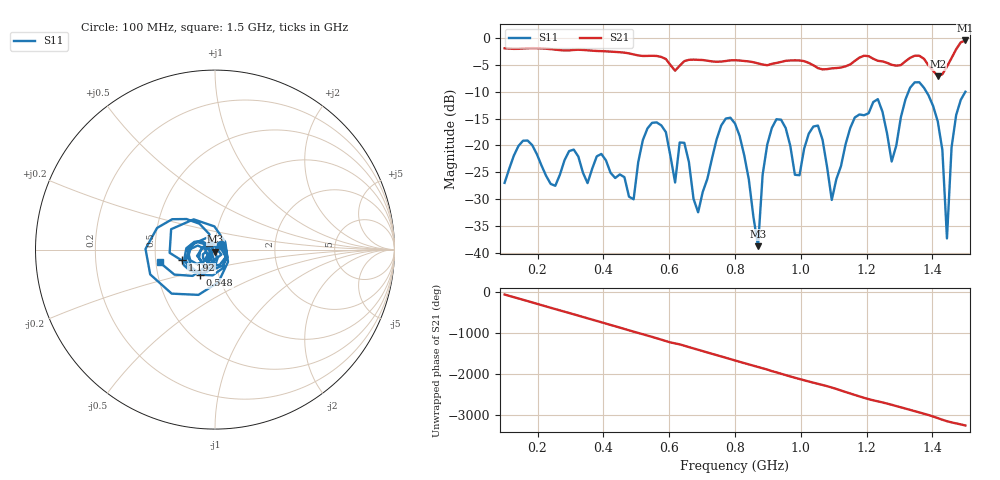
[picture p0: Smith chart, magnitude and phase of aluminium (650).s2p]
! NanoVNA-App
! Date: 2025-09-25 15:00:20
! Start: 100MHz Stop: 1,5GHz Points: 101
! S-Parameter data: F S11 S21 S12 S22
# Hz S RI R 50
!  Frequency  S11_Real  S11_Imag  S21_Real  S21_Imag  S12_Real  S12_Imag  S22_Real  S22_Imag
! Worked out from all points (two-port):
!   101 points, 100 MHz to 1.5 GHz, reference 50 ohm
!   highest |S21| = -0.47 dB at 1.5 GHz (marker M1); lowest = -7.1 dB at 1.416 GHz (marker M2)
!   |S21| within 3 dB of the highest: start of sweep to 570.7 MHz; 1.46 GHz to end of sweep (the widest 2 of 4)
!   lowest |S11| = -38.7 dB at 870 MHz (marker M3), VSWR 1.02, Z = 50.1 - j1.15 ohm
!   |S11| at or under -10 dB: start of sweep to 1.327 GHz; 1.381 GHz to end of sweep
!   S12 and S22 are empty: the file has one direction only
!   S11 on the Smith chart (normalised r, x): 100 MHz: 1.07, +0.06; 548 MHz: 0.82, -0.24; 1.192 GHz: 0.69, -0.08; 1.5 GHz: 0.52, -0.08
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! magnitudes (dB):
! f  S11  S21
! 100 MHz  -27.0  -1.9
! 156 MHz  -19.1  -2.0
! 338 MHz  -25.1  -2.2
! 492 MHz  -30.0  -3.1
! 548 MHz  -15.8  -3.3
! 576 MHz  -16.3  -3.5
! 646 MHz  -19.5  -4.3
! 688 MHz  -32.4  -4.1
! 800 MHz  -15.9  -4.1
! 870 MHz  -38.7  -4.7
! 912 MHz  -16.7  -4.8
! 996 MHz  -25.5  -4.2
! 1.038 GHz  -16.5  -5.1
! 1.094 GHz  -30.1  -5.7
! 1.192 GHz  -14.4  -3.3
! 1.234 GHz  -11.4  -4.2
! 1.276 GHz  -23.0  -5.0
! 1.346 GHz  -8.3  -3.3
! 1.416 GHz  -15.5  -7.1
! 1.444 GHz  -37.3  -5.3
! 1.458 GHz  -20.3  -3.7
! 1.5 GHz  -10.0  -0.5
